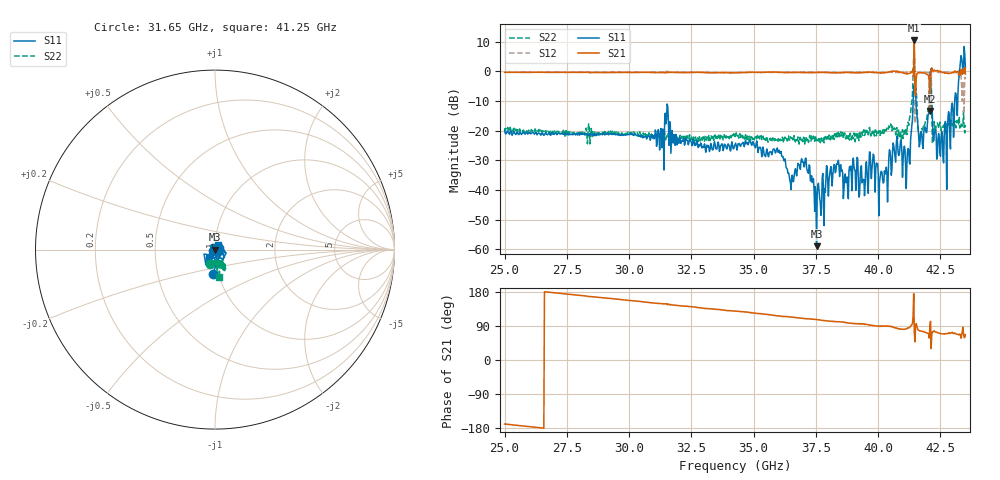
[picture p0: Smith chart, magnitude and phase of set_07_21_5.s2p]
!Keysight Technologies,N5224A,MY55441802,A.10.65.16
!Date: Tuesday, March 03, 2026 16:55:20
!Correction: S11(Full 2 Port(1,2))
!S21(Full 2 Port(1,2))
!S12(Full 2 Port(1,2))
!S22(Full 2 Port(1,2))
!S2P File: Measurements: S11, S21, S12, S22:
# Hz S  dB  R 50
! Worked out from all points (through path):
!   741 points, 25 GHz to 43.5 GHz, reference 50 ohm
!   highest |S21| = 10.38 dB at 41.45 GHz (marker M1); lowest = -13.4 dB at 42.08 GHz (marker M2)
!   lowest |S11| = -59.0 dB at 37.52 GHz (marker M3), VSWR 1.00, Z = 49.9 - j0.0614 ohm
!   |S11| at or under -10 dB: start of sweep to 41.4 GHz; 41.52 GHz to 42.06 GHz (547.8 MHz wide, 1.31 % of centre); 42.15 GHz to 43.07 GHz (921.6 MHz wide, 2.16 % of centre)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
!   |S22| runs from -24.6 to 6.1 dB; largest |S21 - S12| = 3.1
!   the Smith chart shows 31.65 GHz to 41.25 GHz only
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2.5e10  -19.92 -75.9  -0.39 -168.9  -0.39 -168.7  -19.18 -93.7
2.81e10  -21.18 -95.9  -0.40 169.9  -0.37 170.0  -20.60 -104.8
3.1175e10  -19.67 -114.9  -0.48 149.2  -0.39 149.4  -20.81 -107.7
3.15e10  -16.20 108.1  -0.54 149.1  -0.10 148.6  -21.43 -97.3
3.175e10  -24.00 -101.2  -0.32 145.1  -0.43 145.3  -22.68 -101.1
3.425e10  -24.76 -135.5  -0.49 128.8  -0.44 128.9  -22.52 -94.4
3.735e10  -37.53 -106.8  -0.44 107.9  -0.40 107.4  -22.87 -78.7
3.7525e10  -58.99 -146.8  -0.42 106.4  -0.39 106.2  -23.46 -79.4
3.8325e10  -31.28 -98.7  -0.57 101.3  -0.54 100.9  -20.92 -79.9
4.0425e10  -29.29 -136.6  -0.26 89.6  -0.27 86.8  -18.48 -61.7
4.0825e10  -28.42 -41.3  -0.09 82.7  -0.44 84.6  -19.88 -56.1
4.12e10  -26.07 14.6  -0.79 84.5  -0.55 82.6  -17.16 -78.7
4.1375e10  -16.42 15.4  -0.00 96.5  -0.22 91.4  -7.97 -40.7
4.145e10  -5.70 97.9  10.38 71.8  -14.08 39.9  6.08 -98.8
4.155e10  -14.43 -39.0  -0.85 89.8  -1.06 93.1  -9.54 42.0
4.1675e10  -24.16 -80.3  -0.52 76.7  -0.40 79.3  -22.35 -50.7
4.2075e10  -7.82 -132.2  -13.40 90.2  -6.50 46.5  -0.14 -59.7
4.225e10  -21.30 -38.0  0.43 77.0  -0.29 74.2  -16.98 -66.2
4.2675e10  -17.67 -88.2  -0.71 69.5  -0.23 69.9  -20.38 -64.5
4.3225e10  -3.49 -82.8  0.02 66.6  -1.29 52.8  -17.86 -70.4
4.34e10  -0.80 -77.2  0.09 87.0  -3.40 98.7  -18.20 42.5
4.35e10  1.15 -53.6  -0.96 67.0  -2.62 51.6  -18.14 -67.9
